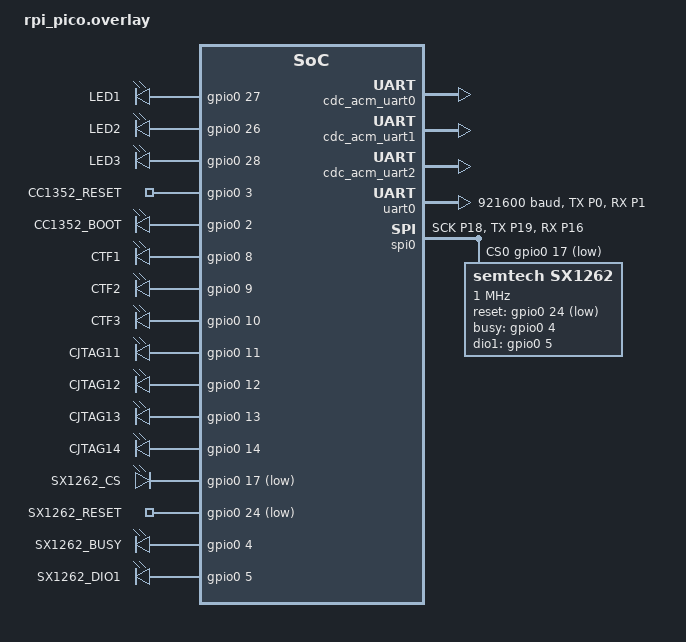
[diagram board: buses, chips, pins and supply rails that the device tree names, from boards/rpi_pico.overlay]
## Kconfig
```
# Copyright (c) 2021 Nordic Semiconductor ASA
# SPDX-License-Identifier: Apache-2.0
#
# This file is the application Kconfig entry point. All application Kconfig
# options can be defined here or included via other application Kconfig files.
# You can browse these options using the west targets menuconfig (terminal) or
# guiconfig (GUI).
source "samples/subsys/usb/common/Kconfig.sample_usbd"

source "Kconfig.zephyr"
```

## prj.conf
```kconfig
# Copyright (c) 2021 Nordic Semiconductor ASA
# SPDX-License-Identifier: Apache-2.0
#
# This file contains selected Kconfig options for the application.

# Enable console over USB
CONFIG_SERIAL=y
CONFIG_UART_INTERRUPT_DRIVEN=y
CONFIG_UART_LINE_CTRL=y

# Use only the new USB device stack
CONFIG_USB_DEVICE_STACK_NEXT=y
CONFIG_USBD_CDC_ACM_CLASS=y

# ADD THESE SPI CONFIGURATIONS:
CONFIG_SPI=y
CONFIG_LORA=y
CONFIG_GPIO=y
CONFIG_FLASH=y
CONFIG_FLASH_MAP=y
CONFIG_NVS=y
CONFIG_SETTINGS=y
CONFIG_SETTINGS_NVS=y

# Use native SX126x driver
# CONFIG_LORA_MODULE_BACKEND_NONE=y  # This symbol is not available in current Zephyr
# Enable SX126x driver
CONFIG_LORA_SX126X=y

# Enable unique serial number from chip ID
CONFIG_HWINFO=y

# Optional: Logging levels for debugging
CONFIG_LOG=n
CONFIG_CONSOLE=n
CONFIG_UART_CONSOLE=n
CONFIG_LOG=n
# CONFIG_PRINTK=n
CONFIG_USBD_LOG_LEVEL_WRN=n
CONFIG_UDC_DRIVER_LOG_LEVEL_WRN=n
CONFIG_USBD_CDC_ACM_LOG_LEVEL_ERR=n


# Optional: USB product strings
CONFIG_SAMPLE_USBD_PID=0xBABB
CONFIG_SAMPLE_USBD_PRODUCT="Catsniffer"
CONFIG_SAMPLE_USBD_MANUFACTURER="Electronic Cats"

# (legacy USB stack )
# CONFIG_USB_DEVICE_STACK=y
# CONFIG_USB_DEVICE_PRODUCT="Zephyr CDC ACM sample"
# CONFIG_USB_DEVICE_PID=0x0001
# CONFIG_USB_DEVICE_INITIALIZE_AT_BOOT=n
# CONFIG_USB_DRIVER_LOG_LEVEL_ERR=y
# CONFIG_USB_DEVICE_LOG_LEVEL_ERR=y
```

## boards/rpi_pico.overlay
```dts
/ {
    chosen {
        uart-cc1352 = &uart0;
        zephyr,settings-partition = &storage_partition;
    };

    aliases {
        pin-reset = &cc1352_reset;
        pin-boot = &cc1352_boot;
        led0 = &led_0;
        led1 = &led_1;
        led2 = &led_2;
        ctf1 = &ctf1_pin;
        ctf2 = &ctf2_pin;
        ctf3 = &ctf3_pin;
        cjtag0 = &cjtag0;
        cjtag1 = &cjtag1;
        cjtag2 = &cjtag2;
        cjtag3 = &cjtag3;
        lora0 = &sx1262;
    };

    leds {
        compatible = "gpio-leds";
        led_0: led0 {
            gpios = <&gpio0 27 GPIO_ACTIVE_HIGH>;
            label = "LED1";
        };
        led_1: led1 {
            gpios = <&gpio0 26 GPIO_ACTIVE_HIGH>;
            label = "LED2";
        };
        led_2: led2 {
            gpios = <&gpio0 28 GPIO_ACTIVE_HIGH>;
            label = "LED3";
        };
    };

    gpio_pins {
        compatible = "gpio-leds";

        cc1352_reset: cc1352-reset {
            gpios = <&gpio0 3 GPIO_ACTIVE_HIGH>;
            label = "CC1352_RESET";
        };
        cc1352_boot: cc1352-boot {
            gpios = <&gpio0 2 GPIO_ACTIVE_HIGH>;
            label = "CC1352_BOOT";
        };
        ctf1_pin: ctf1 {
            gpios = <&gpio0 8 GPIO_ACTIVE_HIGH>;
            label = "CTF1";
        };
        ctf2_pin: ctf2 {
            gpios = <&gpio0 9 GPIO_ACTIVE_HIGH>;
            label = "CTF2";
        };
        ctf3_pin: ctf3 {
            gpios = <&gpio0 10 GPIO_ACTIVE_HIGH>;
            label = "CTF3";
        };

        cjtag0: cjtag0 {
            gpios = <&gpio0 11 GPIO_ACTIVE_HIGH>;
            label = "CJTAG11";
        };

        cjtag1: cjtag1 {
            gpios = <&gpio0 12 GPIO_ACTIVE_HIGH>;
            label = "CJTAG12";
        };

        cjtag2: cjtag2 {
            gpios = <&gpio0 13 GPIO_ACTIVE_HIGH>;
            label = "CJTAG13";
        };

        cjtag3: cjtag3 {
            gpios = <&gpio0 14 GPIO_ACTIVE_HIGH>;
            label = "CJTAG14";
        };

        sx1262_cs_pin: sx1262-cs {
            gpios = <&gpio0 17 GPIO_ACTIVE_LOW>;
            label = "SX1262_CS";
        };

        sx1262_reset_pin: sx1262-reset {
            gpios = <&gpio0 24 GPIO_ACTIVE_LOW>;
            label = "SX1262_RESET";
        };

        sx1262_busy_pin: sx1262-busy {
            gpios = <&gpio0 4 GPIO_ACTIVE_HIGH>;
            label = "SX1262_BUSY";
        };

        sx1262_dio1_pin: sx1262-dio1 {
            gpios = <&gpio0 5 GPIO_ACTIVE_HIGH>;
            label = "SX1262_DIO1";
        };
    };
};

&flash0 {
	partitions {
		/delete-node/ partition@100;

		code_partition: partition@100 {
			label = "code-partition";
			reg = <0x100 0x1eff00>;
			read-only;
		};

		storage_partition: partition@1f0000 {
			label = "storage";
			reg = <0x1f0000 0x10000>;
		};
	};
};

&zephyr_udc0 {
    cdc_acm_uart0: cdc_acm_uart0 {
        compatible = "zephyr,cdc-acm-uart";
        label = "Cat-Bridge";
    };

    cdc_acm_uart1: cdc_acm_uart1 {
        compatible = "zephyr,cdc-acm-uart";
        label = "Cat-LoRa";
    };

    cdc_acm_uart2: cdc_acm_uart2 {
        compatible = "zephyr,cdc-acm-uart";
        label = "Cat-Shell";
    };
};

&uart0 {
    current-speed = <921600>;
    status = "okay";
    pinctrl-0 = <&uart0_default>;
    pinctrl-names = "default";
};

// Enable and configure SPI for SX1262
&spi0 {
    status = "okay";
    pinctrl-0 = <&spi0_default>;
    pinctrl-names = "default";
    cs-gpios = <&gpio0 17 GPIO_ACTIVE_LOW>;

    sx1262: sx1262@0 {
        compatible = "semtech,sx1262";
        reg = <0>;
        spi-max-frequency = <1000000>;

        reset-gpios = <&gpio0 24 GPIO_ACTIVE_LOW>;
        busy-gpios = <&gpio0 4 GPIO_ACTIVE_HIGH>;
        dio1-gpios = <&gpio0 5 GPIO_ACTIVE_HIGH>;
    };
};

&pinctrl {
    uart0_default: uart0_default {
        group1 {
            pinmux = <UART0_TX_P0>;
        };
        group2 {
            pinmux = <UART0_RX_P1>;
            input-enable;
        };
    };

    spi0_default: spi0_default {
        group1 {
            pinmux = <SPI0_SCK_P18>, <SPI0_TX_P19>;  // GPIO18=SCK, GPIO19=COPI(MOSI)
        };
        group2 {
            pinmux = <SPI0_RX_P16>;  // GPIO16=CIPO(MISO)
            input-enable;
        };
    };
};


/*
 * ACTUAL PIN MAPPING FROM CATSNIFFER SCHEMATIC:
 *
 * SX1262 Signal  | Pico GPIO | Pico Pin | Function
 * ---------------|-----------|----------|----------
 * CS             | GPIO17    | Pin 22   | SPI Chip Select (JTAG/TDO when JTAG not used)
 * SCK            | GPIO18    | Pin 29   | SPI Clock
 * MOSI (COPI)    | GPIO19    | Pin 30   | SPI Master Out
 * MISO (CIPO)    | GPIO16    | Pin 27   | SPI Master In
 * RESET          | GPIO24    | Pin 36   | Reset (active low) -> RESET_SX
 * BUSY           | GPIO5     | Pin 6    | Busy indicator
 * DIO1           | GPIO6     | Pin 7    | Interrupt output
 *
 * Note: COPI = Controller Out Peripheral In (MOSI)
 *       CIPO = Controller In Peripheral Out (MISO)
 */
```

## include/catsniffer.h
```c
/*
 * Catsniffer Dual USB CDC-ACM Header
 * Eduardo Contreras @ Electronic Cats 2026
 */

#ifndef CATSNIFFER_H
#define CATSNIFFER_H

#include <zephyr/kernel.h>
#include <zephyr/device.h>
#include <zephyr/drivers/gpio.h>
#include <catsniffer_usbd.h>
#include <zephyr/drivers/uart.h>
#include <zephyr/sys/ring_buffer.h>
#include <zephyr/usb/usbd.h>
#include <zephyr/drivers/spi.h>
#include <zephyr/drivers/lora.h>
#include <zephyr/logging/log.h>
#include <zephyr/sys/util.h>
#include <string.h>
#include <stdlib.h>

// Ring buffer and command buffer sizes
#define RING_BUF_SIZE 1024
#define COMMAND_BUF_SIZE 256

// Define Thead priorities
#define LORA_THREAD_PRIORITY K_PRIO_COOP(5)
#define MAIN_THREAD_PRIORITY K_PRIO_COOP(7)

// Helper macro to simplify GPIO setup
#define INIT_GPIO(name, flags)                                         \
	const struct gpio_dt_spec name =                               \
		GPIO_DT_SPEC_GET_OR(DT_ALIAS(name), gpios, { 0 });     \
	do {                                                           \
		if (!device_is_ready(name.port)) {                     \
			printk("Error: " #name " device not ready\n"); \
			return 1;                                      \
		}                                                      \
		gpio_pin_configure_dt(&name, flags);                   \
	} while (0)

// Mode definitions
enum MODE {
	PASSTHROUGH = 0, // CC1352 passthrough @ 921600 baud
	BOOT = 1,	 // CC1352 bootloader @ 500000 baud
};

// Band definitions
enum BAND {
	GIG = 0,      // 2.4GHz CC1352
	SUBGIG_1 = 1, // Sub-GHz CC1352
	SUBGIG_2 = 2  // LoRa SX1262
};

// LoRa mode definitions
enum LORA_MODE {
	LORA_MODE_STREAM = 0,  // Default: raw binary
	LORA_MODE_COMMAND = 1, // Text commands
};

// LoRa configuration structure
typedef struct {
	uint32_t frequency;	  // Hz (default: 915000000)
	uint8_t spreading_factor; // SF_7 to SF_12 (default: SF_7)
	uint8_t bandwidth;   // BW_125_KHZ, BW_250_KHZ, BW_500_KHZ (default:
			     // BW_125_KHZ)
	uint8_t coding_rate; // CR_4_5, CR_4_6, CR_4_7, CR_4_8 (default: CR_4_5)
	int8_t tx_power;     // -9 to 22 dBm (default: 20)
	uint16_t preamble_len; // Default: 12
	bool iq_inverted;      // IQ inversion (default: false/normal)
	bool public_network;   // Public network sync word (default: false/private)
	uint16_t syncword; // Sync word: e.g. 0x1424 (Private), 0x3444 (Public),
			   // 0x2B44 (Meshtastic)
	bool config_pending; // true if changes not yet applied
} lora_config_t;

// Catsniffer state structure
typedef struct {
	uint8_t mode;
	uint8_t band;
	unsigned long led_interval;
	int64_t previous_millis;
	unsigned long baud;
	bool command_recognized;
	uint8_t command_counter;
	char command_data[COMMAND_BUF_SIZE];
	size_t command_data_len;
	// LoRa state
	uint8_t lora_mode;	   // LORA_MODE_STREAM or LORA_MODE_COMMAND
	lora_config_t lora_config; // Current LoRa configuration
	bool lora_initialized;	   // Track initialization state
	bool lora_config_lock;	   // Lock flag to pause LoRa operations during
				   // reconfiguration
} catsniffer_t;

// Global catsniffer instance
extern catsniffer_t catsniffer;

// LoRa command format (CDC1):
// TX <hex_data>     - Send LoRa packet (e.g., "TX 48656C6C6F")
// RX [timeout_ms]   - Enter receive mode (e.g., "RX 5000" or "RX" for
// continuous) FREQ <frequency>  - Set frequency in Hz (e.g., "FREQ 868000000")
// SF <7-12>         - Set spreading factor (e.g., "SF 7")
// PWR <-9 to 22>    - Set TX power in dBm (e.g., "PWR 14")
// STATUS            - Get device status

// Function prototypes
void reset_cc1352(void);
void boot_mode_cc1352(void);
void change_baud(unsigned long new_baud);
void change_band(unsigned long new_band);
void change_mode(unsigned long new_mode);
void process_lora_command(char *cmd_line);
int apply_lora_config(void);

#endif /* CATSNIFFER_H */
```

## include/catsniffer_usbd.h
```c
/*
 * Copyright (c) 2023 Nordic Semiconductor ASA.
 *
 * SPDX-License-Identifier: Apache-2.0
 */

#ifndef ZEPHYR_SUBSYS_USBD_H
#define ZEPHYR_SUBSYS_USBD_H

#include <stdint.h>
#include <zephyr/usb/usbd.h>

/*
 * This function uses Kconfig.sample_usbd options to configure and initialize a
 * USB device. It configures sample's device context, default string
 * descriptors, USB device configuration, registers any available class
 * instances, and finally initializes USB device. It is limited to a single
 * device with a single configuration instantiated in sample_usbd_init.c, which
 * should be enough for a simple USB device sample.
 *
 * It returns the configured and initialized USB device context on success,
 * otherwise it returns NULL.
 */
struct usbd_context *usbd_init_device(usbd_msg_cb_t msg_cb);

/*
 * This function is similar to sample_usbd_init_device(), but does not
 * initialize the device. It allows the application to set additional features,
 * such as additional descriptors.
 */
struct usbd_context *usbd_setup_device(usbd_msg_cb_t msg_cb);

#endif /* ZEPHYR_SAMPLES_SUBSYS_USB_COMMON_SAMPLE_USBD_H */
```

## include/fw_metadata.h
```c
#ifndef FW_METADATA_H
#define FW_METADATA_H

#include <stddef.h>

#define CC1352_FW_ID_MAX_LEN 32

int fw_metadata_init(void);
int fw_metadata_set_cc1352_fw_id(const char *fw_id);
int fw_metadata_get_cc1352_fw_id(char *buf, size_t buf_len);
int fw_metadata_clear_cc1352_fw_id(void);
int fw_metadata_has_cc1352_fw_id(void);
int fw_metadata_is_official_cc1352_fw_id(const char *fw_id);
const char *fw_metadata_official_id_by_index(size_t index);
size_t fw_metadata_official_id_count(void);

#endif /* FW_METADATA_H */
```

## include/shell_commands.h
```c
/*
 * shell_commands.h - Shell Command Parser Interface
 */

#ifndef SHELL_COMMANDS_H
#define SHELL_COMMANDS_H

#include <stddef.h>

// Parse and execute a command line (null-terminated string)
void process_command(char *cmd, size_t len);

#endif
```

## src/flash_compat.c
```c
#include <stddef.h>
#include <stdint.h>
#include <string.h>

#include <hardware/flash.h>

#define PAGE_SIZE 256U

/*
 * Compatibility shim for RP2040 Zephyr/Pico SDK combinations where
 * flash_write_partial() is referenced by the flash driver but not provided.
 */
__attribute__((weak)) void flash_write_partial(uint32_t offset,
					       const uint8_t *data, size_t size)
{
	uint32_t page_base = offset & ~(PAGE_SIZE - 1U);
	uint32_t page_offset = offset - page_base;
	uint8_t page_buf[PAGE_SIZE];

	memcpy(page_buf, (const void *)(CONFIG_FLASH_BASE_ADDRESS + page_base),
	       PAGE_SIZE);
	memcpy(&page_buf[page_offset], data, size);
	flash_range_program(page_base, page_buf, PAGE_SIZE);
}
```

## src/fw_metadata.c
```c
#include "fw_metadata.h"

#include <errno.h>
#include <string.h>
#include <zephyr/fs/nvs.h>
#include <zephyr/storage/flash_map.h>
#include <zephyr/sys/util.h>

static const char *const official_fw_ids[] = {
	"sniffle",
	"ti_sniffer",
	"catsniffer_v3",
	"airtag_spoofer_cc1352p7",
	"airtag_scanner_cc1352p7",
};

static struct nvs_fs fs;
static char stored_cc1352_fw_id[CC1352_FW_ID_MAX_LEN];
static int has_fw_id;
static int initialized;
static int storage_unavailable;

#define FW_META_NVS_ID_CC1352_FW_ID 1
#define FW_META_STORAGE_SECTOR_COUNT 2

static int fw_metadata_validate_id(const char *fw_id)
{
	size_t len;

	if (fw_id == NULL) {
		return -EINVAL;
	}

	len = strlen(fw_id);
	if (len == 0 || len >= CC1352_FW_ID_MAX_LEN) {
		return -EINVAL;
	}

	for (size_t i = 0; i < len; i++) {
		char c = fw_id[i];
		int is_alnum = (c >= '0' && c <= '9') ||
			       (c >= 'A' && c <= 'Z') || (c >= 'a' && c <= 'z');
		if (!is_alnum && c != '_' && c != '-' && c != '.') {
			return -EINVAL;
		}
	}

	return 0;
}

int fw_metadata_init(void)
{
	const struct flash_area *fa;
	char tmp[CC1352_FW_ID_MAX_LEN];
	ssize_t len;
	int rc;

	if (initialized) {
		return 0;
	}

	rc = flash_area_open(FIXED_PARTITION_ID(storage_partition), &fa);
	if (rc < 0) {
		storage_unavailable = 1;
		return rc;
	}

	fs.flash_device = fa->fa_dev;
	fs.offset = fa->fa_off;
	fs.sector_size = fa->fa_size / FW_META_STORAGE_SECTOR_COUNT;
	fs.sector_count = FW_META_STORAGE_SECTOR_COUNT;

	rc = nvs_mount(&fs);
	flash_area_close(fa);
	if (rc < 0) {
		storage_unavailable = 1;
		return rc;
	}

	memset(stored_cc1352_fw_id, 0, sizeof(stored_cc1352_fw_id));
	has_fw_id = 0;

	len = nvs_read(&fs, FW_META_NVS_ID_CC1352_FW_ID, tmp, sizeof(tmp) - 1);
	if (len > 0) {
		tmp[len] = '\0';
		if (fw_metadata_validate_id(tmp) == 0) {
			strncpy(stored_cc1352_fw_id, tmp,
				sizeof(stored_cc1352_fw_id) - 1);
			has_fw_id = 1;
		}
	}

	initialized = 1;
	return 0;
}

int fw_metadata_set_cc1352_fw_id(const char *fw_id)
{
	int rc;

	rc = fw_metadata_validate_id(fw_id);
	if (rc < 0) {
		return rc;
	}

	if (!initialized) {
		rc = fw_metadata_init();
		if (rc < 0) {
			return rc;
		}
	}

	rc = nvs_write(&fs, FW_META_NVS_ID_CC1352_FW_ID, fw_id, strlen(fw_id));
	if (rc < 0) {
		return rc;
	}

	memset(stored_cc1352_fw_id, 0, sizeof(stored_cc1352_fw_id));
	strncpy(stored_cc1352_fw_id, fw_id, sizeof(stored_cc1352_fw_id) - 1);
	has_fw_id = 1;
	return 0;
}

int fw_metadata_get_cc1352_fw_id(char *buf, size_t buf_len)
{
	if (!initialized) {
		int rc = fw_metadata_init();
		if (rc < 0) {
			return rc;
		}
	}

	if (!has_fw_id) {
		return -ENOENT;
	}

	if (buf == NULL || buf_len == 0) {
		return -EINVAL;
	}

	strncpy(buf, stored_cc1352_fw_id, buf_len - 1);
	buf[buf_len - 1] = '\0';
	return 0;
}

int fw_metadata_clear_cc1352_fw_id(void)
{
	int rc;

	if (!initialized) {
		rc = fw_metadata_init();
		if (rc < 0) {
			return rc;
		}
	}

	rc = nvs_delete(&fs, FW_META_NVS_ID_CC1352_FW_ID);
	if (rc < 0) {
		return rc;
	}

	memset(stored_cc1352_fw_id, 0, sizeof(stored_cc1352_fw_id));
	has_fw_id = 0;
	return 0;
}

int fw_metadata_has_cc1352_fw_id(void)
{
	if (!initialized && !storage_unavailable) {
		(void)fw_metadata_init();
	}
	return has_fw_id;
}

int fw_metadata_is_official_cc1352_fw_id(const char *fw_id)
{
	for (size_t i = 0; i < ARRAY_SIZE(official_fw_ids); i++) {
		if (strcmp(fw_id, official_fw_ids[i]) == 0) {
			return 1;
		}
	}
	return 0;
}

const char *fw_metadata_official_id_by_index(size_t index)
{
	if (index >= ARRAY_SIZE(official_fw_ids)) {
		return NULL;
	}
	return official_fw_ids[index];
}

size_t fw_metadata_official_id_count(void)
{
	return ARRAY_SIZE(official_fw_ids);
}
```

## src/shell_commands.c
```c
/*
 * shell_commands.c - Command Table Based Shell
 */

#include "shell_commands.h"
#include <errno.h>
#include <pico/bootrom.h>
#include <stdio.h>
#include <stdlib.h>
#include <string.h>
#include <zephyr/kernel.h>

#include "catsniffer.h"
#include "fw_metadata.h"

// External functions from main.c
void shell_reply(const char *msg);
void change_mode(unsigned long new_mode);
void change_band(unsigned long new_band);
void process_lora_command(char *cmd_line);
void set_status_leds(int l0, int l1, int l2);

extern catsniffer_t catsniffer;

// Command handler type
typedef void (*cmd_handler_t)(char *args);

// Command table entry
typedef struct {
	const char *name;
	cmd_handler_t handler;
	const char *help;
	bool prefix_match; // true for commands with args (TX, TEST)
} shell_cmd_t;

// Forward declarations
static void cmd_help(char *args);
static void cmd_boot(char *args);
static void cmd_exit(char *args);
static void cmd_band1(char *args);
static void cmd_band2(char *args);
static void cmd_band3(char *args);
static void cmd_reboot(char *args);
static void cmd_status(char *args);
static void cmd_lora_freq(char *args);
static void cmd_lora_sf(char *args);
static void cmd_lora_bw(char *args);
static void cmd_lora_cr(char *args);
static void cmd_lora_power(char *args);
static void cmd_lora_mode(char *args);
static void cmd_lora_preamble(char *args);
static void cmd_lora_syncword(char *args);
static void cmd_lora_iq(char *args);
static void cmd_lora_config(char *args);
static void cmd_lora_apply(char *args);
static void cmd_cc1352_fw_id(char *args);

// Command table
static const shell_cmd_t commands[] = {
	{ "help", cmd_help, "Show available commands", false },
	{ "boot", cmd_boot, "CC1352 bootloader mode", false },
	{ "exit", cmd_exit, "Return to passthrough", false },
	{ "band1", cmd_band1, "2.4GHz band", false },
	{ "band2", cmd_band2, "SUB-GHz band", false },
	{ "band3", cmd_band3, "LoRa band", false },
	{ "reboot", cmd_reboot, "RP2040 USB bootloader", false },
	{ "status", cmd_status, "Device status", false },
	{ "lora_freq", cmd_lora_freq, "Set frequency (Hz)", true },
	{ "lora_sf", cmd_lora_sf, "Set spreading factor", true },
	{ "lora_bw", cmd_lora_bw, "Set bandwidth (kHz)", true },
	{ "lora_cr", cmd_lora_cr, "Set coding rate", true },
	{ "lora_power", cmd_lora_power, "Set TX power (dBm)", true },
	{ "lora_mode", cmd_lora_mode, "stream|command mode", true },
	{ "lora_preamble", cmd_lora_preamble, "Set preamble length", true },
	{ "lora_syncword", cmd_lora_syncword, "private|public|<value>", true },
	{ "lora_iq", cmd_lora_iq, "normal|inverted IQ", true },
	{ "lora_config", cmd_lora_config, "Show LoRa config", false },
	{ "lora_apply", cmd_lora_apply, "Apply pending config", false },
	{ "cc1352_fw_id", cmd_cc1352_fw_id, "set|get|clear|list CC1352 FW ID",
	  true },
	{ NULL, NULL, NULL, false }
};

// Command implementations
static void cmd_help(char *args)
{
	shell_reply("Commands:\r\n");
	for (const shell_cmd_t *cmd = commands; cmd->name != NULL; cmd++) {
		char buf[64];
		snprintf(buf, sizeof(buf), "  %-8s - %s\r\n", cmd->name,
			 cmd->help);
		shell_reply(buf);
	}
}

static void cmd_boot(char *args)
{
	change_mode(BOOT);
	set_status_leds(0, 0, catsniffer.mode);
	shell_reply("BOOT\r\n");
}

static void cmd_exit(char *args)
{
	change_mode(PASSTHROUGH);
	set_status_leds(0, 0, 0);
	shell_reply("PASSTHROUGH\r\n");
}

static void cmd_band1(char *args)
{
	change_band(GIG);
	set_status_leds(0, 0, 0);
	shell_reply("2.4GHz Band\r\n");
}

static void cmd_band2(char *args)
{
	change_band(SUBGIG_1);
	set_status_leds(0, 0, 0);
	shell_reply("SUB-GHz Band\r\n");
}

static void cmd_band3(char *args)
{
	change_band(SUBGIG_2);
	set_status_leds(0, 0, 0);
	shell_reply("LoRa Band\r\n");
}

static void cmd_reboot(char *args)
{
	shell_reply("Entering USB bootloader...\r\n");
	k_msleep(100);
	reset_usb_boot(0, 0);
}

static void cmd_status(char *args)
{
	char buf[320];
	const char *mode_str = (catsniffer.lora_mode == LORA_MODE_STREAM) ?
				       "Stream" :
				       "Command";
	const char *lora_status =
		catsniffer.lora_initialized ? "initialized" : "not initialized";
	char fw_id[CC1352_FW_ID_MAX_LEN];
	const char *fw_id_str = "unset";
	const char *fw_type = "n/a";
	if (fw_metadata_get_cc1352_fw_id(fw_id, sizeof(fw_id)) == 0) {
		fw_id_str = fw_id;
		fw_type = fw_metadata_is_official_cc1352_fw_id(fw_id) ? "offici"
									"al" :
									"custo"
									"m";
	}
	snprintf(buf, sizeof(buf),
		 "Mode: %d, Band: %d, LoRa: %s, LoRa Mode: %s, CC1352 FW: %s "
		 "(%s)\r\n",
		 catsniffer.mode, catsniffer.band, lora_status, mode_str,
		 fw_id_str, fw_type);
	shell_reply(buf);
}

static void cmd_cc1352_fw_id(char *args)
{
	char *subcmd;
	char *value;

	while (*args && *args != ' ') {
		args++;
	}
	while (*args == ' ') {
		args++;
	}

	subcmd = args;
	while (*args && *args != ' ') {
		args++;
	}
	if (*args != '\0') {
		*args++ = '\0';
	}
	while (*args == ' ') {
		args++;
	}
	value = args;

	if (subcmd[0] == '\0') {
		shell_reply("Usage: cc1352_fw_id <set|get|clear|list> "
			    "[id]\r\n");
		return;
	}

	if (strcmp(subcmd, "set") == 0) {
		char msg[128];
		const char *type;
		int ret;

		if (value[0] == '\0') {
			shell_reply("Usage: cc1352_fw_id set <id>\r\n");
			return;
		}

		ret = fw_metadata_set_cc1352_fw_id(value);
		if (ret < 0) {
			if (ret == -EINVAL) {
				shell_reply("ERR invalid ID (allowed: a-z A-Z "
					    "0-9 _ - . , max 31)\r\n");
			} else {
				shell_reply("ERR storage unavailable\r\n");
			}
			return;
		}

		type = fw_metadata_is_official_cc1352_fw_id(value) ? "officia"
								     "l" :
								     "custom";
		snprintf(msg, sizeof(msg), "OK cc1352_fw_id=%s (%s)\r\n", value,
			 type);
		shell_reply(msg);
		return;
	}

	if (strcmp(subcmd, "get") == 0) {
		char fw_id[CC1352_FW_ID_MAX_LEN];
		char msg[128];
		int ret = fw_metadata_get_cc1352_fw_id(fw_id, sizeof(fw_id));
		if (ret == -ENOENT) {
			shell_reply("OK cc1352_fw_id=unset\r\n");
			return;
		}
		if (ret < 0) {
			shell_reply("ERR storage unavailable\r\n");
			return;
		}

		snprintf(msg, sizeof(msg), "OK cc1352_fw_id=%s type=%s\r\n",
			 fw_id,
			 fw_metadata_is_official_cc1352_fw_id(fw_id) ? "officia"
								       "l" :
								       "custo"
								       "m");
		shell_reply(msg);
		return;
	}

	if (strcmp(subcmd, "clear") == 0) {
		int ret = fw_metadata_clear_cc1352_fw_id();
		if (ret < 0) {
			shell_reply("ERR storage unavailable\r\n");
			return;
		}
		shell_reply("OK cc1352_fw_id cleared\r\n");
		return;
	}

	if (strcmp(subcmd, "list") == 0) {
		char msg[96];
		size_t count = fw_metadata_official_id_count();
		shell_reply("Official CC1352 FW IDs:\r\n");
		for (size_t i = 0; i < count; i++) {
			const char *id = fw_metadata_official_id_by_index(i);
			snprintf(msg, sizeof(msg), "  - %s\r\n", id);
			shell_reply(msg);
		}
		return;
	}

	shell_reply("Usage: cc1352_fw_id <set|get|clear|list> [id]\r\n");
}

static void cmd_lora_freq(char *args)
{
	// Skip command name to get argument
	while (*args && *args != ' ')
		args++;
	while (*args == ' ')
		args++;

	if (*args == '\0') {
		shell_reply("Usage: lora_freq <Hz>\r\n");
		return;
	}

	uint32_t freq = (uint32_t)atoi(args);
	if (freq < 137000000 || freq > 1020000000) {
		shell_reply("Error: Frequency must be 137-1020 MHz\r\n");
		return;
	}

	catsniffer.lora_config.frequency = freq;
	catsniffer.lora_config.config_pending = true;

	char buf[64];
	snprintf(buf, sizeof(buf), "Frequency set to %u Hz (pending)\r\n",
		 freq);
	shell_reply(buf);
}

static void cmd_lora_sf(char *args)
{
	// Skip command name to get argument
	while (*args && *args != ' ')
		args++;
	while (*args == ' ')
		args++;

	if (*args == '\0') {
		shell_reply("Usage: lora_sf <7-12>\r\n");
		return;
	}

	int sf = atoi(args);
	if (sf < 7 || sf > 12) {
		shell_reply("Error: Spreading factor must be 7-12\r\n");
		return;
	}

	// Map to Zephyr enum values (SF_7, SF_8, ..., SF_12)
	catsniffer.lora_config.spreading_factor = (uint8_t)sf;
	catsniffer.lora_config.config_pending = true;

	char buf[64];
	snprintf(buf, sizeof(buf), "Spreading Factor set to SF%d (pending)\r\n",
		 sf);
	shell_reply(buf);
}

static void cmd_lora_bw(char *args)
{
	// Skip command name to get argument
	while (*args && *args != ' ')
		args++;
	while (*args == ' ')
		args++;

	if (*args == '\0') {
		shell_reply("Usage: lora_bw <125|250|500>\r\n");
		return;
	}

	int bw = atoi(args);
	uint8_t bw_enum;

	switch (bw) {
	case 125:
		bw_enum = BW_125_KHZ;
		break;
	case 250:
		bw_enum = BW_250_KHZ;
		break;
	case 500:
		bw_enum = BW_500_KHZ;
		break;
	default:
		shell_reply("Error: Bandwidth must be 125, 250, or 500 "
			    "kHz\r\n");
		return;
	}

	catsniffer.lora_config.bandwidth = bw_enum;
	catsniffer.lora_config.config_pending = true;

	char buf[64];
	snprintf(buf, sizeof(buf), "Bandwidth set to %d kHz (pending)\r\n", bw);
	shell_reply(buf);
}

static void cmd_lora_cr(char *args)
{
	// Skip command name to get argument
	while (*args && *args != ' ')
		args++;
	while (*args == ' ')
		args++;

	if (*args == '\0') {
		shell_reply("Usage: lora_cr <5|6|7|8>\r\n");
		return;
	}

	int cr = atoi(args);
	uint8_t cr_enum;

	switch (cr) {
	case 5:
		cr_enum = CR_4_5;
		break;
	case 6:
		cr_enum = CR_4_6;
		break;
	case 7:
		cr_enum = CR_4_7;
		break;
	case 8:
		cr_enum = CR_4_8;
		break;
	default:
		shell_reply("Error: Coding rate must be 5, 6, 7, or 8 (for "
			    "4/5, 4/6, 4/7, 4/8)\r\n");
		return;
	}

	catsniffer.lora_config.coding_rate = cr_enum;
	catsniffer.lora_config.config_pending = true;

	char buf[64];
	snprintf(buf, sizeof(buf), "Coding Rate set to 4/%d (pending)\r\n", cr);
	shell_reply(buf);
}

static void cmd_lora_power(char *args)
{
	// Skip command name to get argument
	while (*args && *args != ' ')
		args++;
	while (*args == ' ')
		args++;

	if (*args == '\0') {
		shell_reply("Usage: lora_power <-9 to 22>\r\n");
		return;
	}

	int power = atoi(args);
	if (power < -9 || power > 22) {
		shell_reply("Error: TX power must be -9 to 22 dBm\r\n");
		return;
	}

	catsniffer.lora_config.tx_power = (int8_t)power;
	catsniffer.lora_config.config_pending = true;

	char buf[64];
	snprintf(buf, sizeof(buf), "TX Power set to %d dBm (pending)\r\n",
		 power);
	shell_reply(buf);
}

static void cmd_lora_mode(char *args)
{
	// Skip command name to get argument
	while (*args && *args != ' ')
		args++;
	while (*args == ' ')
		args++;

	if (*args == '\0') {
		shell_reply("Usage: lora_mode <stream|command>\r\n");
		return;
	}

	if (strncmp(args, "stream", 6) == 0) {
		catsniffer.lora_mode = LORA_MODE_STREAM;
		catsniffer.led_interval = 1000; // Slow blink for stream mode
		shell_reply("LoRa mode set to STREAM (slow blink)\r\n");
	} else if (strncmp(args, "command", 7) == 0) {
		catsniffer.lora_mode = LORA_MODE_COMMAND;
		catsniffer.led_interval = 200; // Fast blink for command mode
		shell_reply("LoRa mode set to COMMAND (fast blink)\r\n");
	} else {
		shell_reply("Error: Mode must be 'stream' or 'command'\r\n");
	}
}

static void cmd_lora_preamble(char *args)
{
	// Skip command name to get argument
	while (*args && *args != ' ')
		args++;
	while (*args == ' ')
		args++;

	if (*args == '\0') {
		shell_reply("Usage: lora_preamble <6-65535>\r\n");
		return;
	}

	int preamble = atoi(args);
	if (preamble < 6 || preamble > 65535) {
		shell_reply("Error: Preamble length must be 6-65535\r\n");
		return;
	}

	catsniffer.lora_config.preamble_len = (uint16_t)preamble;
	catsniffer.lora_config.config_pending = true;

	char buf[64];
	snprintf(buf, sizeof(buf), "Preamble length set to %d (pending)\r\n",
		 preamble);
	shell_reply(buf);
}

static void cmd_lora_syncword(char *args)
{
	// Skip command name to get argument
	while (*args && *args != ' ')
		args++;
	while (*args == ' ')
		args++;

	if (*args == '\0') {
		shell_reply("Usage: lora_syncword <private|public|value>\r\n");
		return;
	}

	if (strncmp(args, "private", 7) == 0) {
		catsniffer.lora_config.syncword = 0x1424;
		catsniffer.lora_config.config_pending = true;
		shell_reply("Sync word set to PRIVATE (0x1424) (pending)\r\n");
	} else if (strncmp(args, "public", 6) == 0) {
		catsniffer.lora_config.syncword = 0x3444;
		catsniffer.lora_config.config_pending = true;
		shell_reply("Sync word set to PUBLIC (0x3444) (pending)\r\n");
	} else {
		uint16_t sw_val = (uint16_t)strtol(args, NULL, 0);
		if (sw_val > 0) {
			if (sw_val <= 0xFF) {
				sw_val = (sw_val << 8) | 0x44;
			}
			catsniffer.lora_config.syncword = sw_val;
			catsniffer.lora_config.config_pending = true;
			char buf[64];
			snprintf(buf, sizeof(buf),
				 "Sync word set to 0x%04X (pending)\r\n",
				 sw_val);
			shell_reply(buf);
		} else {
			shell_reply("Error: Must be 'private', 'public' or a "
				    "value\r\n");
		}
	}
}

static void cmd_lora_iq(char *args)
{
	// Skip command name to get argument
	while (*args && *args != ' ')
		args++;
	while (*args == ' ')
		args++;

	if (*args == '\0') {
		shell_reply("Usage: lora_iq <normal|inverted>\r\n");
		return;
	}

	if (strncmp(args, "normal", 6) == 0) {
		catsniffer.lora_config.iq_inverted = false;
		catsniffer.lora_config.config_pending = true;
		shell_reply("IQ set to NORMAL (pending)\r\n");
	} else if (strncmp(args, "inverted", 8) == 0) {
		catsniffer.lora_config.iq_inverted = true;
		catsniffer.lora_config.config_pending = true;
		shell_reply("IQ set to INVERTED (pending)\r\n");
	} else {
		shell_reply("Error: Must be 'normal' or 'inverted'\r\n");
	}
}

static void cmd_lora_config(char *args)
{
	char buf[512];
	const char *mode_str = (catsniffer.lora_mode == LORA_MODE_STREAM) ?
				       "Stream" :
				       "Command";
	const char *pending_str =
		catsniffer.lora_config.config_pending ? " (pending apply)" : "";
	const char *iq_str = catsniffer.lora_config.iq_inverted ? "Inverted" :
								  "Normal";
	char syncword_str[32];
	snprintf(syncword_str, sizeof(syncword_str), "0x%04X",
		 catsniffer.lora_config.syncword);

	snprintf(buf, sizeof(buf),
		 "LoRa Configuration:%s\r\n"
		 "  Frequency: %u Hz\r\n"
		 "  Spreading Factor: SF%d\r\n"
		 "  Bandwidth: %s kHz\r\n"
		 "  Coding Rate: 4/%d\r\n"
		 "  TX Power: %d dBm\r\n"
		 "  Preamble Length: %d\r\n"
		 "  IQ: %s\r\n"
		 "  Sync Word: %s\r\n"
		 "  Mode: %s\r\n",
		 pending_str, catsniffer.lora_config.frequency,
		 catsniffer.lora_config.spreading_factor,
		 (catsniffer.lora_config.bandwidth == BW_125_KHZ) ? "125" :
		 (catsniffer.lora_config.bandwidth == BW_250_KHZ) ? "250" :
								    "500",
		 (catsniffer.lora_config.coding_rate == CR_4_5) ? 5 :
		 (catsniffer.lora_config.coding_rate == CR_4_6) ? 6 :
		 (catsniffer.lora_config.coding_rate == CR_4_7) ? 7 :
								  8,
		 catsniffer.lora_config.tx_power,
		 catsniffer.lora_config.preamble_len, iq_str, syncword_str,
		 mode_str);
	shell_reply(buf);
}

static void cmd_lora_apply(char *args)
{
	if (!catsniffer.lora_config.config_pending) {
		shell_reply("No pending configuration changes\r\n");
		return;
	}

	int ret = apply_lora_config();
	if (ret < 0) {
		char buf[64];
		snprintf(buf, sizeof(buf),
			 "Error applying configuration: %d\r\n", ret);
		shell_reply(buf);
	} else {
		catsniffer.lora_config.config_pending = false;
		shell_reply("LoRa configuration applied successfully\r\n");
	}
}

// Main command processor
void process_command(char *cmd, size_t len)
{
	if (len == 0)
		return;

	for (const shell_cmd_t *entry = commands; entry->name != NULL;
	     entry++) {
		if (entry->prefix_match) {
			size_t name_len = strlen(entry->name);
			if (strncmp(cmd, entry->name, name_len) == 0) {
				entry->handler(cmd);
				return;
			}
		} else {
			if (strcmp(cmd, entry->name) == 0) {
				entry->handler(cmd);
				return;
			}
		}
	}

	shell_reply("Unknown command. Type 'help'\r\n");
}
```
